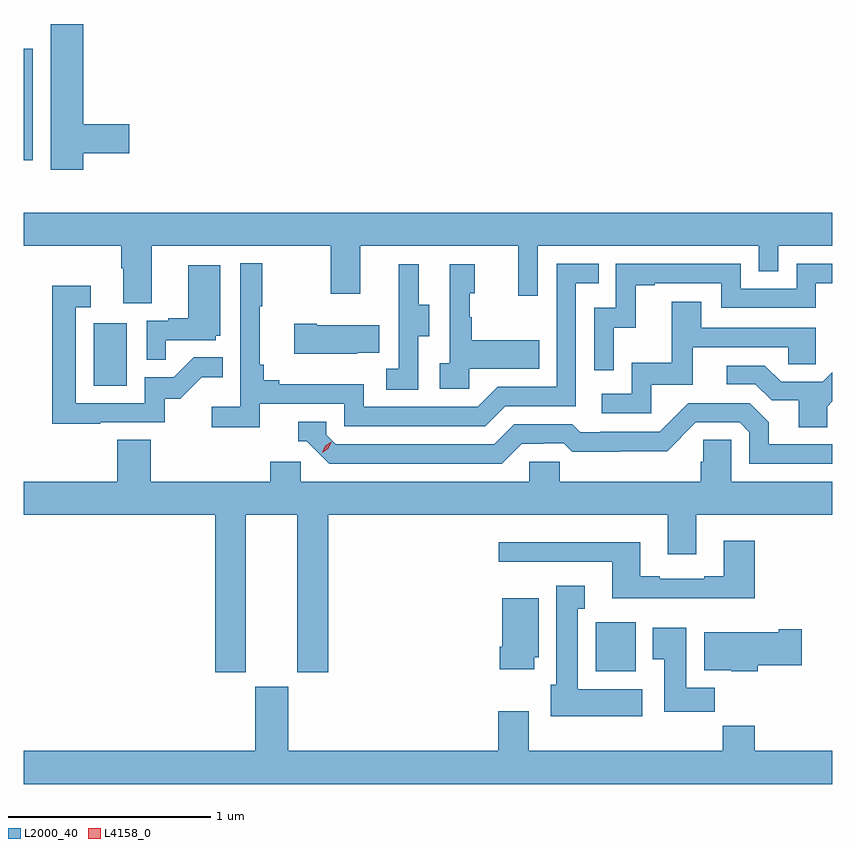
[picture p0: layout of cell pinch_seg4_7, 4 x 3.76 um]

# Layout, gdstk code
import gdstk
lib = gdstk.Library(unit=1e-6, precision=1e-09)
def R(c, l, rs):  # rectangles x0, y0, x1, y1
    for r in rs: c.add(gdstk.rectangle(r[:2], r[2:], *l))
def P(c, l, *ps):  # polygons
    for p in ps: c.add(gdstk.Polygon(p, *l))
L2000_40 = (2000, 40)
L4158_0 = (4158, 0)

pinch_seg4_7 = lib.new_cell('pinch_seg4_7')
R(pinch_seg4_7, L2000_40, [(1085.33,812.03,1085.527,812.272), (1082.846,813.444,1083.01,813.751), (1082.5,814.558,1082.544,815.11)])
P(pinch_seg4_7, L2000_40, [(1082.794,814.594),(1083.022,814.594),(1083.022,814.736),(1082.794,814.736),(1082.794,815.233),(1082.633,815.233),(1082.633,814.512),(1082.794,814.512)],
  [(1083.133,814.136),(1084.018,814.136),(1084.018,813.897),(1084.165,813.897),(1084.165,814.136),(1084.946,814.136),(1084.946,813.888),(1085.043,813.888),(1085.043,814.136),(1086.138,814.136),(1086.138,814.009),(1086.234,814.009),(1086.234,814.136),(1086.5,814.136),(1086.5,814.3),(1082.5,814.3),(1082.5,814.136),(1082.981,814.136),(1082.981,814.024),(1082.993,814.024),(1082.993,813.85),(1083.133,813.85)],
  [(1083.668,813.354),(1084.086,813.354),(1084.086,813.243),(1084.783,813.243),(1084.882,813.342),(1085.232,813.342),(1085.232,813.951),(1085.345,813.951),(1085.345,814.047),(1085.136,814.047),(1085.136,813.438),(1084.845,813.438),(1084.746,813.339),(1084.182,813.339),(1084.182,813.451),(1083.763,813.451),(1083.763,813.47),(1083.686,813.47),(1083.686,813.547),(1083.667,813.547),(1083.667,813.835),(1083.679,813.835),(1083.679,814.048),(1083.57,814.048),(1083.57,813.34),(1083.429,813.34),(1083.429,813.238),(1083.668,813.238)],
  [(1085.418,813.731),(1085.528,813.731),(1085.528,813.939),(1085.623,813.939),(1085.623,813.951),(1085.952,813.951),(1085.952,813.828),(1086.42,813.828),(1086.42,813.951),(1086.5,813.951),(1086.5,814.047),(1086.324,814.047),(1086.324,813.924),(1086.048,813.924),(1086.048,814.047),(1085.43,814.047),(1085.43,813.828),(1085.322,813.828),(1085.322,813.519),(1085.418,813.519)],
  [(1084.452,813.688),(1084.507,813.688),(1084.507,813.843),(1084.453,813.843),(1084.453,814.045),(1084.355,814.045),(1084.355,813.831),(1084.356,813.831),(1084.356,813.527),(1084.293,813.527),(1084.293,813.424),(1084.452,813.424)],
  [(1084.704,813.527),(1085.051,813.527),(1085.051,813.667),(1084.717,813.667),(1084.717,813.782),(1084.707,813.782),(1084.707,813.9),(1084.732,813.9),(1084.732,814.045),(1084.608,814.045),(1084.608,813.554),(1084.557,813.554),(1084.557,813.429),(1084.704,813.429)],
  [(1083.203,813.669),(1083.45,813.669),(1083.45,813.69),(1083.472,813.69),(1083.472,814.039),(1083.314,814.039),(1083.314,813.778),(1083.215,813.778),(1083.215,813.765),(1083.108,813.765),(1083.108,813.571),(1083.203,813.571)],
  [(1082.879,813.261),(1083.198,813.261),(1083.198,813.378),(1083.274,813.378),(1083.381,813.485),(1083.485,813.485),(1083.485,813.584),(1083.341,813.584),(1083.243,813.486),(1083.099,813.486),(1083.099,813.357),(1082.757,813.357),(1082.757,813.831),(1082.83,813.831),(1082.83,813.937),(1082.641,813.937),(1082.641,813.256),(1082.879,813.256)],
  [(1085.604,813.447),(1085.809,813.447),(1085.809,813.633),(1086.283,813.633),(1086.283,813.549),(1086.42,813.549),(1086.42,813.729),(1085.851,813.729),(1085.851,813.859),(1085.707,813.859),(1085.707,813.556),(1085.508,813.556),(1085.508,813.402),(1085.361,813.402),(1085.361,813.306),(1085.604,813.306)],
  [(1084.151,813.605),(1084.259,813.605),(1084.259,813.742),(1083.949,813.742),(1083.949,813.75),(1083.837,813.75),(1083.837,813.602),(1084.151,813.602)],
  [(1086.475,813.34),(1086.5,813.365),(1086.5,813.509),(1086.453,813.462),(1086.247,813.462),(1086.166,813.543),(1085.979,813.543),(1085.979,813.45),(1086.12,813.45),(1086.2,813.37),(1086.335,813.37),(1086.335,813.238),(1086.475,813.238)],
  [(1084.963,813.156),(1085.07,813.156),(1085.07,813.159),(1085.173,813.159),(1085.215,813.117),(1085.448,813.117),(1085.448,813.119),(1085.684,813.119),(1085.826,813.261),(1086.042,813.261),(1086.09,813.213),(1086.09,813.057),(1086.5,813.057),(1086.5,813.153),(1086.187,813.153),(1086.187,813.263),(1086.093,813.357),(1085.787,813.357),(1085.646,813.216),(1085.353,813.216),(1085.353,813.213),(1085.254,813.213),(1085.215,813.252),(1084.926,813.252),(1084.827,813.153),(1084.044,813.153),(1083.996,813.201),(1083.996,813.264),(1083.857,813.264),(1083.857,813.168),(1083.9,813.168),(1084.011,813.057),(1084.864,813.057)],
  [(1083.598,812.804),(1083.854,812.804),(1083.854,812.025),(1084.007,812.025),(1084.007,812.804),(1085.687,812.804),(1085.687,812.61),(1085.827,812.61),(1085.827,812.804),(1086.5,812.804),(1086.5,812.968),(1086,812.968),(1086,813.176),(1085.863,813.176),(1085.863,813.066),(1085.849,813.066),(1085.849,812.968),(1085.151,812.968),(1085.151,813.066),(1085.001,813.066),(1085.001,812.968),(1083.87,812.968),(1083.87,813.066),(1083.719,813.066),(1083.719,812.968),(1083.128,812.968),(1083.128,813.176),(1082.963,813.176),(1082.963,812.968),(1082.5,812.968),(1082.5,812.804),(1083.446,812.804),(1083.446,812.025),(1083.598,812.025)],
  [(1086.116,812.677),(1085.963,812.677),(1085.963,812.5),(1085.867,812.5),(1085.867,812.487),(1085.647,812.487),(1085.647,812.5),(1085.551,812.5),(1085.551,812.668),(1084.851,812.668),(1084.851,812.571),(1085.411,812.571),(1085.411,812.39),(1086.116,812.39)],
  [(1085.56,811.942),(1085.242,811.942),(1085.242,812.339),(1085.275,812.339),(1085.275,812.452),(1085.135,812.452),(1085.135,811.962),(1085.108,811.962),(1085.108,811.808),(1085.56,811.808)],
  [(1085.026,812.1),(1085.047,812.1),(1085.047,812.392),(1084.868,812.392),(1084.868,812.152),(1084.856,812.152),(1084.856,812.04),(1085.026,812.04)],
  [(1085.918,811.948),(1085.779,811.948),(1085.779,812.245),(1085.612,812.245),(1085.612,812.089),(1085.669,812.089),(1085.669,811.83),(1085.918,811.83)],
  [(1086.131,812.059),(1086.349,812.059),(1086.349,812.237),(1086.236,812.237),(1086.236,812.224),(1085.867,812.224),(1085.867,812.036),(1086,812.036),(1086,812.03),(1086.131,812.03)],
  [(1086.5,811.636),(1086.116,811.636),(1086.116,811.76),(1085.959,811.76),(1085.959,811.636),(1084.999,811.636),(1084.999,811.831),(1084.847,811.831),(1084.847,811.636),(1083.808,811.636),(1083.808,811.953),(1083.644,811.953),(1083.644,811.636),(1082.5,811.636),(1082.5,811.472),(1086.5,811.472)])
P(pinch_seg4_7, L4158_0, [(1083.976,813.112),(1083.976,813.112),(1083.991,813.145),(1084.022,813.165),(1084.022,813.165),(1084.022,813.164),(1084.006,813.132),(1083.976,813.112)])

lib.write_gds('pinch_seg4_7.gds')
